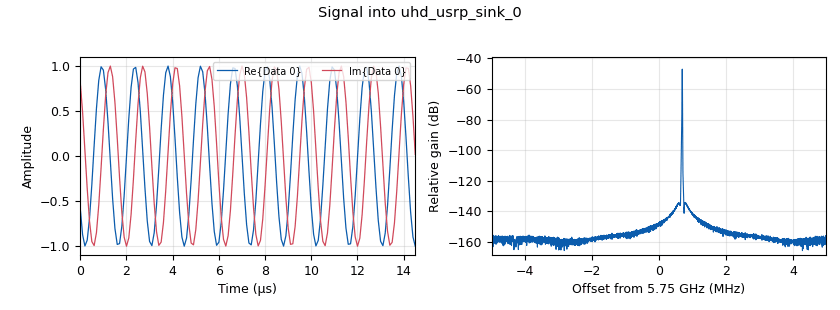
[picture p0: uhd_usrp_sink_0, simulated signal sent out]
<?xml version='1.0' encoding='utf-8'?>
<?grc format='1' created='3.7.9'?>
<flow_graph>
<block>
<key>options</key>
<param><key>id</key><value>top_block</value></param>
<param><key>category</key><value>Custom</value></param>
<param><key>generate_options</key><value>no_gui</value></param>
<param><key>run_options</key><value>run</value></param>
</block>
<block>
<key>variable</key>
<param><key>id</key><value>Bm</value></param>
<param><key>value</key><value>1e6</value></param>
</block>
<block>
<key>variable</key>
<param><key>id</key><value>fc</value></param>
<param><key>value</key><value>5.75e9</value></param>
</block>
<block>
<key>variable</key>
<param><key>id</key><value>samp_rate</value></param>
<param><key>value</key><value>10000000</value></param>
</block>
<block>
<key>analog_sig_source_x</key>
<param><key>id</key><value>analog_sig_source_x_0</value></param>
<param><key>amp</key><value>1</value></param>
<param><key>freq</key><value>10</value></param>
<param><key>offset</key><value>0</value></param>
<param><key>type</key><value>float</value></param>
<param><key>samp_rate</key><value>samp_rate</value></param>
<param><key>waveform</key><value>analog.GR_SAW_WAVE</value></param>
</block>
<block>
<key>audio_sink</key>
<param><key>id</key><value>audio_sink_0</value></param>
<param><key>_enabled</key><value>0</value></param>
<param><key>num_inputs</key><value>2</value></param>
<param><key>ok_to_block</key><value>False</value></param>
<param><key>samp_rate</key><value>48000</value></param>
</block>
<block>
<key>blocks_complex_to_float</key>
<param><key>id</key><value>blocks_complex_to_float_0</value></param>
<param><key>_enabled</key><value>0</value></param>
</block>
<block>
<key>blocks_file_sink</key>
<param><key>id</key><value>blocks_file_sink_0</value></param>
<param><key>file</key><value>out.bin</value></param>
<param><key>type</key><value>complex</value></param>
</block>
<block>
<key>blocks_multiply_conjugate_cc</key>
<param><key>id</key><value>blocks_multiply_conjugate_cc_0</value></param>
</block>
<block>
<key>blocks_vco_c</key>
<param><key>id</key><value>blocks_vco_c_0</value></param>
<param><key>amplitude</key><value>1</value></param>
<param><key>samp_rate</key><value>samp_rate</value></param>
<param><key>sensitivity</key><value>Bm*(2*3.1416)</value></param>
</block>
<block>
<key>blocks_delay</key>
<param><key>id</key><value>delay</value></param>
<param><key>delay</key><value>5000</value></param>
<param><key>_enabled</key><value>2</value></param>
<param><key>type</key><value>complex</value></param>
</block>
<block>
<key>qtgui_freq_sink_x</key>
<param><key>id</key><value>qtgui_freq_sink_x_0</value></param>
<param><key>bw</key><value>samp_rate</value></param>
<param><key>fc</key><value>0</value></param>
<param><key>ctrlpanel</key><value>True</value></param>
<param><key>_enabled</key><value>0</value></param>
<param><key>fftsize</key><value>1024</value></param>
<param><key>name</key><value>Receive Spectrum</value></param>
<param><key>showports</key><value>True</value></param>
<param><key>type</key><value>complex</value></param>
<param><key>update_time</key><value>0.20</value></param>
<param><key>wintype</key><value>firdes.WIN_BLACKMAN_hARRIS</value></param>
<param><key>ymax</key><value>0</value></param>
<param><key>ymin</key><value>-60</value></param>
</block>
<block>
<key>qtgui_freq_sink_x</key>
<param><key>id</key><value>qtgui_freq_sink_x_0_0</value></param>
<param><key>bw</key><value>samp_rate</value></param>
<param><key>fc</key><value>0</value></param>
<param><key>ctrlpanel</key><value>True</value></param>
<param><key>_enabled</key><value>0</value></param>
<param><key>fftsize</key><value>4096</value></param>
<param><key>grid</key><value>True</value></param>
<param><key>name</key><value>Transmit Spectrum</value></param>
<param><key>showports</key><value>True</value></param>
<param><key>tr_level</key><value>-40</value></param>
<param><key>tr_mode</key><value>qtgui.TRIG_MODE_AUTO</value></param>
<param><key>type</key><value>complex</value></param>
<param><key>wintype</key><value>firdes.WIN_BLACKMAN_hARRIS</value></param>
<param><key>ymax</key><value>0</value></param>
<param><key>ymin</key><value>-60</value></param>
</block>
<block>
<key>qtgui_time_sink_x</key>
<param><key>id</key><value>qtgui_time_sink_x_0</value></param>
<param><key>autoscale</key><value>True</value></param>
<param><key>ctrlpanel</key><value>True</value></param>
<param><key>_enabled</key><value>0</value></param>
<param><key>grid</key><value>True</value></param>
<param><key>color1</key><value>"blue"</value></param>
<param><key>label1</key><value></value></param>
<param><key>color2</key><value>"red"</value></param>
<param><key>label2</key><value></value></param>
<param><key>name</key><value>Transmit RF</value></param>
<param><key>size</key><value>40960</value></param>
<param><key>srate</key><value>samp_rate</value></param>
<param><key>tr_mode</key><value>qtgui.TRIG_MODE_AUTO</value></param>
<param><key>type</key><value>complex</value></param>
</block>
<block>
<key>qtgui_time_sink_x</key>
<param><key>id</key><value>qtgui_time_sink_x_0_0</value></param>
<param><key>autoscale</key><value>True</value></param>
<param><key>ctrlpanel</key><value>True</value></param>
<param><key>_enabled</key><value>0</value></param>
<param><key>grid</key><value>True</value></param>
<param><key>color1</key><value>"blue"</value></param>
<param><key>label1</key><value></value></param>
<param><key>color2</key><value>"red"</value></param>
<param><key>label2</key><value></value></param>
<param><key>name</key><value>Receive baseband</value></param>
<param><key>size</key><value>1024</value></param>
<param><key>srate</key><value>samp_rate</value></param>
<param><key>tr_level</key><value>0.01</value></param>
<param><key>tr_mode</key><value>qtgui.TRIG_MODE_AUTO</value></param>
<param><key>type</key><value>complex</value></param>
<param><key>update_time</key><value>0.2</value></param>
</block>
<block>
<key>qtgui_time_sink_x</key>
<param><key>id</key><value>qtgui_time_sink_x_0_1</value></param>
<param><key>autoscale</key><value>True</value></param>
<param><key>ctrlpanel</key><value>True</value></param>
<param><key>_enabled</key><value>0</value></param>
<param><key>grid</key><value>True</value></param>
<param><key>color1</key><value>"blue"</value></param>
<param><key>label1</key><value></value></param>
<param><key>name</key><value>Ramp to VCO</value></param>
<param><key>size</key><value>40960</value></param>
<param><key>srate</key><value>samp_rate</value></param>
<param><key>tr_mode</key><value>qtgui.TRIG_MODE_AUTO</value></param>
<param><key>type</key><value>float</value></param>
</block>
<block>
<key>rational_resampler_xxx</key>
<param><key>id</key><value>rational_resampler_xxx_0</value></param>
<param><key>decim</key><value>1250</value></param>
<param><key>_enabled</key><value>0</value></param>
<param><key>interp</key><value>6</value></param>
<param><key>taps</key><value></value></param>
<param><key>type</key><value>ccc</value></param>
</block>
<block>
<key>uhd_usrp_sink</key>
<param><key>id</key><value>uhd_usrp_sink_0</value></param>
<param><key>ant0</key><value>TX/RX</value></param>
<param><key>bw0</key><value>samp_rate</value></param>
<param><key>center_freq0</key><value>fc</value></param>
<param><key>norm_gain0</key><value>False</value></param>
<param><key>gain0</key><value>50</value></param>
<param><key>clock_rate</key><value>0.0</value></param>
<param><key>dev_args</key><value>""</value></param>
<param><key>type</key><value>fc32</value></param>
<param><key>samp_rate</key><value>samp_rate</value></param>
<param><key>hide_cmd_port</key><value>False</value></param>
<param><key>sync</key><value></value></param>
<param><key>len_tag_name</key><value></value></param>
</block>
<block>
<key>uhd_usrp_source</key>
<param><key>id</key><value>uhd_usrp_source_0</value></param>
<param><key>ant0</key><value>RX2</value></param>
<param><key>bw0</key><value>samp_rate</value></param>
<param><key>center_freq0</key><value>fc</value></param>
<param><key>dc_offs_enb0</key><value>""</value></param>
<param><key>iq_imbal_enb0</key><value>""</value></param>
<param><key>norm_gain0</key><value>False</value></param>
<param><key>gain0</key><value>50</value></param>
<param><key>clock_rate</key><value>0.0</value></param>
<param><key>dev_args</key><value>""</value></param>
<param><key>type</key><value>fc32</value></param>
<param><key>samp_rate</key><value>samp_rate</value></param>
<param><key>hide_cmd_port</key><value>False</value></param>
<param><key>sync</key><value></value></param>
</block>
<connection><source_block_id>analog_sig_source_x_0</source_block_id><sink_block_id>blocks_vco_c_0</sink_block_id><source_key>0</source_key><sink_key>0</sink_key></connection>
<connection><source_block_id>analog_sig_source_x_0</source_block_id><sink_block_id>qtgui_time_sink_x_0_1</sink_block_id><source_key>0</source_key><sink_key>0</sink_key></connection>
<connection><source_block_id>blocks_complex_to_float_0</source_block_id><sink_block_id>audio_sink_0</sink_block_id><source_key>1</source_key><sink_key>1</sink_key></connection>
<connection><source_block_id>blocks_complex_to_float_0</source_block_id><sink_block_id>audio_sink_0</sink_block_id><source_key>0</source_key><sink_key>0</sink_key></connection>
<connection><source_block_id>blocks_multiply_conjugate_cc_0</source_block_id><sink_block_id>blocks_file_sink_0</sink_block_id><source_key>0</source_key><sink_key>0</sink_key></connection>
<connection><source_block_id>blocks_multiply_conjugate_cc_0</source_block_id><sink_block_id>qtgui_freq_sink_x_0</sink_block_id><source_key>0</source_key><sink_key>0</sink_key></connection>
<connection><source_block_id>blocks_multiply_conjugate_cc_0</source_block_id><sink_block_id>qtgui_time_sink_x_0_0</sink_block_id><source_key>0</source_key><sink_key>0</sink_key></connection>
<connection><source_block_id>blocks_multiply_conjugate_cc_0</source_block_id><sink_block_id>rational_resampler_xxx_0</sink_block_id><source_key>0</source_key><sink_key>0</sink_key></connection>
<connection><source_block_id>blocks_vco_c_0</source_block_id><sink_block_id>blocks_multiply_conjugate_cc_0</sink_block_id><source_key>0</source_key><sink_key>1</sink_key></connection>
<connection><source_block_id>blocks_vco_c_0</source_block_id><sink_block_id>qtgui_freq_sink_x_0_0</sink_block_id><source_key>0</source_key><sink_key>0</sink_key></connection>
<connection><source_block_id>blocks_vco_c_0</source_block_id><sink_block_id>qtgui_time_sink_x_0</sink_block_id><source_key>0</source_key><sink_key>0</sink_key></connection>
<connection><source_block_id>blocks_vco_c_0</source_block_id><sink_block_id>uhd_usrp_sink_0</sink_block_id><source_key>0</source_key><sink_key>0</sink_key></connection>
<connection><source_block_id>delay</source_block_id><sink_block_id>blocks_multiply_conjugate_cc_0</sink_block_id><source_key>0</source_key><sink_key>0</sink_key></connection>
<connection><source_block_id>rational_resampler_xxx_0</source_block_id><sink_block_id>blocks_complex_to_float_0</sink_block_id><source_key>0</source_key><sink_key>0</sink_key></connection>
<connection><source_block_id>uhd_usrp_source_0</source_block_id><sink_block_id>delay</sink_block_id><source_key>0</source_key><sink_key>0</sink_key></connection>
</flow_graph>
